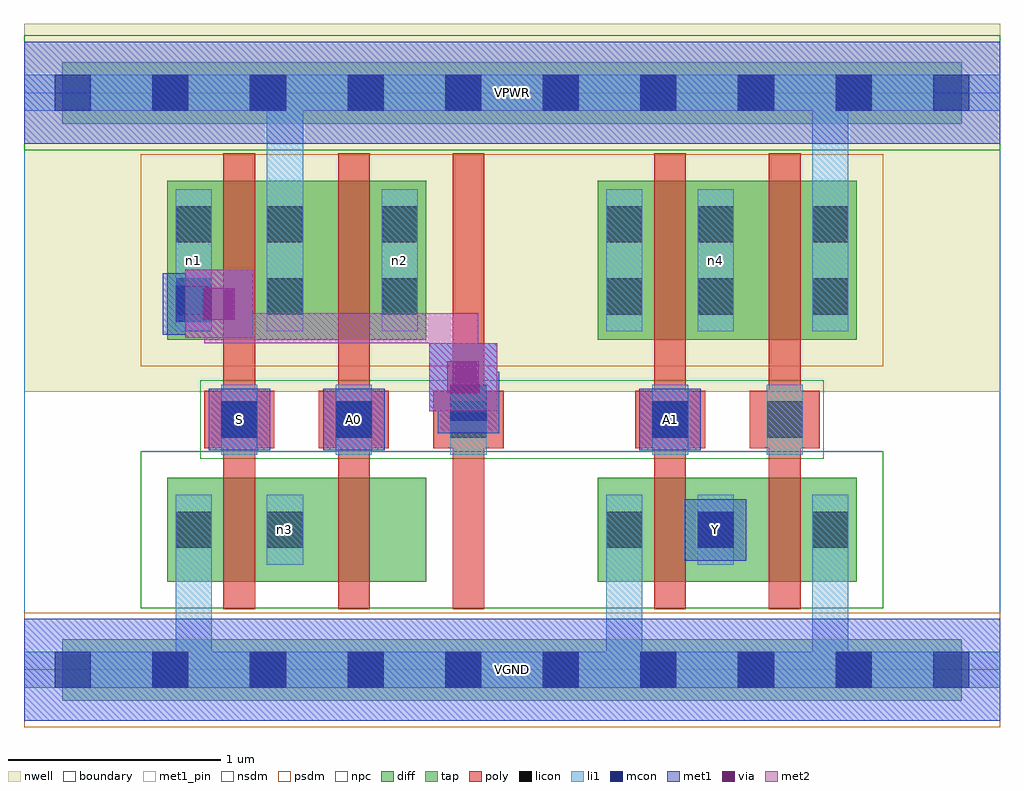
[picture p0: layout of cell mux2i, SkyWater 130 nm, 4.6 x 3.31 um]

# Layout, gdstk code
import gdstk
lib = gdstk.Library(unit=1e-6, precision=1e-09)
def R(c, l, rs):  # rectangles x0, y0, x1, y1
    for r in rs: c.add(gdstk.rectangle(r[:2], r[2:], *l))
def A(c, l, x, y, w, h, nx, ny, dx, dy):  # array of equal rectangles
    R(c, l, [(x+i*dx, y+j*dy, x+i*dx+w, y+j*dy+h) for i in range(nx) for j in range(ny)])
nwell = (64, 20)
diff = (65, 20)
tap = (65, 44)
poly = (66, 20)
licon = (66, 44)
li1 = (67, 20)
mcon = (67, 44)
met1_pin = (68, 16)
met1 = (68, 20)
via = (68, 44)
met2 = (69, 20)
nsdm = (93, 44)
psdm = (94, 20)
npc = (95, 20)
boundary = (235, 4)

mux2i = lib.new_cell('mux2i')
R(mux2i, nwell, [(0,1.31,4.6,3.045)])
R(mux2i, diff, [(0.675,0.415,1.895,0.905), (2.705,0.415,3.925,0.905), (0.675,1.555,1.895,2.305), (2.705,1.555,3.925,2.305)])
R(mux2i, tap, [(0.18,-0.145,4.42,0.145), (0.18,2.575,4.42,2.865)])
A(mux2i, poly, 0.94, 0.285, 0.15, 2.15, 3, 1, 0.54, 0)
A(mux2i, poly, 0.85, 1.045, 0.33, 0.27, 3, 1, 0.54, 0)
R(mux2i, poly, [(2.97,0.285,3.12,2.435), (3.51,0.285,3.66,2.435), (2.88,1.045,3.21,1.315), (3.42,1.045,3.75,1.315)])
A(mux2i, licon, 0.605, -0.085, 0.17, 0.17, 8, 2, 0.46, 2.72)
A(mux2i, licon, 0.93, 1.095, 0.17, 0.17, 3, 1, 0.54, 0)
R(mux2i, licon, [(0.715,0.575,0.885,0.745), (1.145,0.575,1.315,0.745), (2.745,0.575,2.915,0.745), (3.175,0.575,3.345,0.745), (3.715,0.575,3.885,0.745), (2.96,1.095,3.13,1.265), (3.5,1.095,3.67,1.265), (0.715,1.675,0.885,1.845), (1.145,1.675,1.315,1.845), (1.685,1.675,1.855,1.845), (2.745,1.675,2.915,1.845), (3.175,1.675,3.345,1.845), (3.715,1.675,3.885,1.845), (0.715,2.015,0.885,2.185), (1.145,2.015,1.315,2.185), (1.685,2.015,1.855,2.185), (2.745,2.015,2.915,2.185), (3.175,2.015,3.345,2.185), (3.715,2.015,3.885,2.185)])
A(mux2i, li1, 0.93, 1.015, 0.17, 0.33, 3, 1, 0.54, 0)
R(mux2i, li1, [(0,-0.085,4.6,0.085), (0.715,-0.085,0.885,0.825), (2.745,-0.085,2.915,0.825), (3.715,-0.085,3.885,0.825), (0.715,0.495,0.885,0.825), (1.145,0.495,1.315,0.825), (2.745,0.495,2.915,0.825), (3.175,0.495,3.345,0.825), (3.715,0.495,3.885,0.825), (2.96,1.015,3.13,1.345), (3.5,1.015,3.67,1.345), (0.715,1.595,0.885,2.265), (1.145,1.595,1.315,2.265), (1.145,1.595,1.315,2.805), (1.685,1.595,1.855,2.265), (2.745,1.595,2.915,2.265), (3.175,1.595,3.345,2.265), (3.715,1.595,3.885,2.265), (3.715,1.595,3.885,2.805), (0,2.635,4.6,2.805)])
A(mux2i, mcon, 0.145, -0.085, 0.17, 0.17, 10, 2, 0.46, 2.72)
R(mux2i, mcon, [(3.175,0.575,3.345,0.745), (0.93,1.095,1.1,1.265), (1.47,1.095,1.64,1.265), (2.96,1.095,3.13,1.265), (2.01,1.175,2.18,1.345), (0.715,1.64,0.885,1.81)])
R(mux2i, met1_pin, [(0,-0.24,4.6,0.24), (3.115,0.515,3.405,0.805), (0.87,1.035,1.16,1.325), (1.41,1.035,1.7,1.325), (2.9,1.035,3.19,1.325), (0,2.48,4.6,2.96)])
R(mux2i, met1, [(0,-0.24,4.6,0.24), (3.115,0.515,3.405,0.805), (0.87,1.035,1.16,1.325), (1.41,1.035,1.7,1.325), (2.9,1.035,3.19,1.325), (1.95,1.115,2.24,1.405), (2,1.19,2.165,1.33), (2,1.19,2.14,1.45), (1.91,1.22,2.23,1.54), (0.76,1.565,1.08,1.885), (0.655,1.58,0.945,1.87), (0.73,1.655,0.99,1.795), (0,2.48,4.6,2.96)])
R(mux2i, via, [(1.995,1.305,2.145,1.455), (0.845,1.65,0.995,1.8)])
R(mux2i, met2, [(1.91,1.22,2.23,1.54), (2,1.31,2.14,1.68), (0.85,1.54,2.14,1.68), (0.85,1.54,0.99,1.795), (0.76,1.565,1.08,1.885)])
R(mux2i, nsdm, [(0.55,0.29,4.05,1.03), (0,2.45,4.6,2.99)])
R(mux2i, psdm, [(0,-0.27,4.6,0.27), (0.55,1.43,4.05,2.43)])
R(mux2i, npc, [(0.83,0.995,3.77,1.365)])
R(mux2i, boundary, [(0,0,4.6,2.72)])
mux2i.add(gdstk.Label('n3', (1.23,0.66), layer=67, texttype=5))
mux2i.add(gdstk.Label('n1', (0.8,1.93), layer=67, texttype=5))
mux2i.add(gdstk.Label('n2', (1.77,1.93), layer=67, texttype=5))
mux2i.add(gdstk.Label('n4', (3.26,1.93), layer=67, texttype=5))
mux2i.add(gdstk.Label('S', (1.015,1.18), layer=68, texttype=5))
mux2i.add(gdstk.Label('A0', (1.555,1.18), layer=68, texttype=5))
mux2i.add(gdstk.Label('A1', (3.045,1.18), layer=68, texttype=5))
mux2i.add(gdstk.Label('Y', (3.26,0.66), layer=68, texttype=5))
mux2i.add(gdstk.Label('VPWR', (2.3,2.72), layer=68, texttype=5))
mux2i.add(gdstk.Label('VGND', (2.3,0), layer=68, texttype=5))
mux2i.add(gdstk.Label('S', (1.015,1.18), layer=68, texttype=16))
mux2i.add(gdstk.Label('A0', (1.555,1.18), layer=68, texttype=16))
mux2i.add(gdstk.Label('A1', (3.045,1.18), layer=68, texttype=16))
mux2i.add(gdstk.Label('Y', (3.26,0.66), layer=68, texttype=16))
mux2i.add(gdstk.Label('VPWR', (2.3,2.72), layer=68, texttype=16))
mux2i.add(gdstk.Label('VGND', (2.3,0), layer=68, texttype=16))

lib.write_gds('mux2i.gds')
